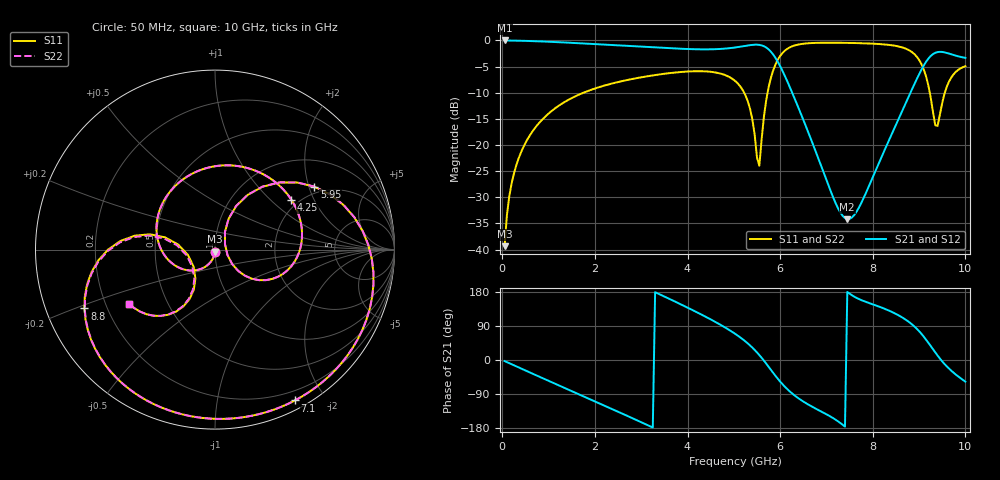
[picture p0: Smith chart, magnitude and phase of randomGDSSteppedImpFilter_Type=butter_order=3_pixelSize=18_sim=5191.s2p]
! freq	dB(S11)	phase(S11)	dB(S12)	phase(S12)
!  dB(S21)	phase(S21)	dB(S22)	phase(S22)
!S-par simulation data
#  GHz  S  DB  R 50
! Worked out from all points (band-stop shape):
!   200 points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, 50 MHz to 10 GHz, reference 50 ohm
!   highest |S21| = 0.00 dB at 50 MHz (marker M1); lowest = -34.2 dB at 7.45 GHz (marker M2)
!   |S21| within 3 dB of the highest: start of sweep to 5.873 GHz; 9.248 GHz to 9.831 GHz (582.8 MHz wide, 6.11 % of centre)
!   lowest |S11| = -39.3 dB at 50 MHz (marker M3), VSWR 1.02, Z = 49.9 - j1.08 ohm
!   |S11| at or under -10 dB: start of sweep to 1.751 GHz; 5.222 GHz to 5.729 GHz (506.8 MHz wide, 9.26 % of centre); 9.231 GHz to 9.556 GHz (325 MHz wide, 3.46 % of centre)
!   |S22| runs from -39.3 to -0.4 dB; largest |S21 - S12| = 0
!   S11 on the Smith chart (normalised r, x): 50 MHz: 1.00, -0.02; 4.25 GHz: 1.83, +1.36; 5.95 GHz: 1.77, +2.18; 7.1 GHz: 0.09, -1.66; 8.8 GHz: 0.12, -0.21; 10 GHz: 0.30, -0.26
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0.05  -39.34 -92.3  -0.00 -2.8  -0.00 -2.8  -39.34 -92.3
0.2  -27.40 -101.1  -0.03 -11.1  -0.03 -11.1  -27.40 -101.1
0.5  -19.60 -118.1  -0.09 -27.7  -0.09 -27.7  -19.60 -118.2
1.75  -10.00 173.5  -0.58 -95.7  -0.58 -95.7  -10.00 173.4
2.65  -7.65 124.5  -1.02 -144.7  -1.02 -144.7  -7.65 124.4
3.4  -6.49 82.6  -1.39 173.3  -1.39 173.3  -6.49 82.6
4.25  -5.88 33.0  -1.70 123.0  -1.70 123.0  -5.88 33.0
5.05  -7.92 -19.7  -1.32 67.3  -1.32 67.3  -7.92 -19.7
5.35  -13.07 -41.1  -0.90 38.5  -0.90 38.5  -13.08 -41.1
5.55  -23.97 28.3  -0.85 13.2  -0.85 13.2  -24.00 28.5
5.7  -11.36 64.0  -1.36 -9.6  -1.36 -9.6  -11.36 64.2
5.95  -3.67 32.3  -4.10 -49.7  -4.10 -49.7  -3.67 32.4
6.25  -1.16 -3.4  -9.78 -87.4  -9.78 -87.4  -1.16 -3.3
6.7  -0.49 -38.9  -19.67 -123.9  -19.67 -123.9  -0.49 -38.8
7.1  -0.44 -62.1  -29.01 -150.1  -29.01 -150.1  -0.43 -61.9
7.45  -0.47 -79.8  -34.16 179.6  -34.16 179.6  -0.47 -79.6
8.35  -0.85 -124.9  -19.09 130.4  -19.09 130.4  -0.85 -124.6
8.8  -1.96 -155.7  -10.26 98.5  -10.26 98.5  -1.95 -155.3
9.15  -6.86 170.1  -4.09 53.9  -4.09 53.9  -6.82 171.1
9.35  -16.24 -169.3  -2.36 19.9  -2.36 19.9  -15.86 -168.5
9.65  -7.80 -122.1  -2.52 -23.2  -2.52 -23.2  -7.77 -122.5
10  -4.94 -147.9  -3.33 -57.2  -3.33 -57.2  -4.93 -147.9
